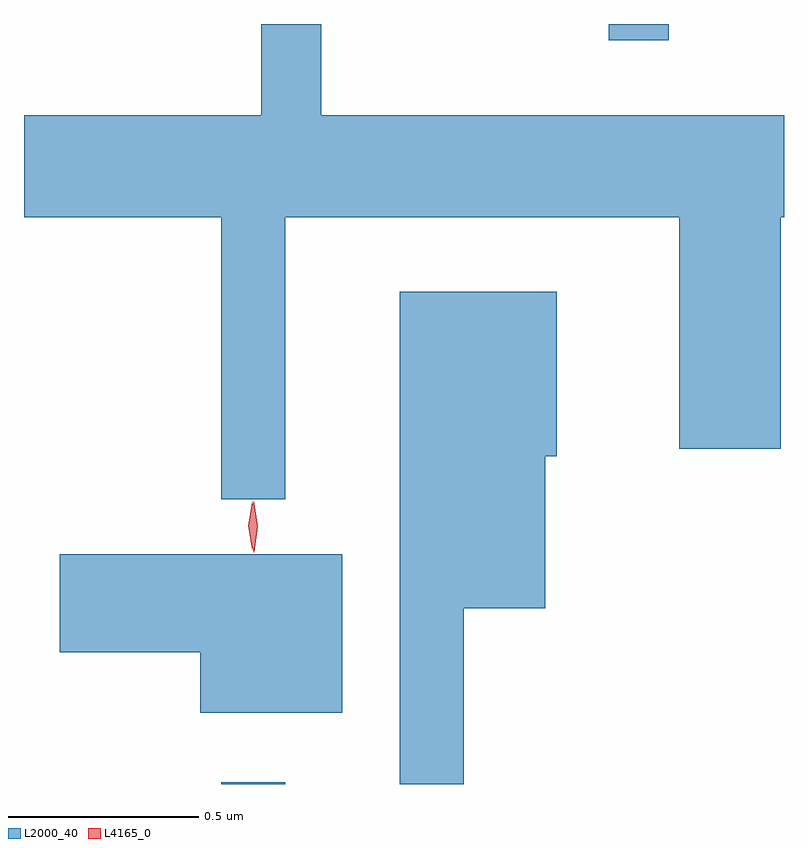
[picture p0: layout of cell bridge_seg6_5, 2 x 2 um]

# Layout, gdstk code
import gdstk
lib = gdstk.Library(unit=1e-6, precision=1e-09)
def R(c, l, rs):  # rectangles x0, y0, x1, y1
    for r in rs: c.add(gdstk.rectangle(r[:2], r[2:], *l))
def P(c, l, *ps):  # polygons
    for p in ps: c.add(gdstk.Polygon(p, *l))
L2000_40 = (2000, 40)
L4165_0 = (4165, 0)

bridge_seg6_5 = lib.new_cell('bridge_seg6_5')
R(bridge_seg6_5, L2000_40, [(1452.631,1641.784,1452.799,1641.788), (1453.651,1643.741,1453.809,1643.784)])
P(bridge_seg6_5, L2000_40, [(1452.799,1643.276),(1453.836,1643.276),(1453.836,1642.666),(1454.104,1642.666),(1454.104,1643.276),(1454.112,1643.276),(1454.112,1643.544),(1452.894,1643.544),(1452.894,1643.784),(1452.736,1643.784),(1452.736,1643.544),(1452.112,1643.544),(1452.112,1643.276),(1452.631,1643.276),(1452.631,1642.533),(1452.799,1642.533)],
  [(1453.269,1642.246),(1453.484,1642.246),(1453.484,1642.646),(1453.514,1642.646),(1453.514,1643.079),(1453.101,1643.079),(1453.101,1641.784),(1453.269,1641.784)],
  [(1452.949,1642.389),(1452.206,1642.389),(1452.206,1642.131),(1452.576,1642.131),(1452.576,1641.971),(1452.949,1641.971)])
P(bridge_seg6_5, L4165_0, [(1452.717,1642.394),(1452.717,1642.394),(1452.707,1642.462),(1452.716,1642.53),(1452.717,1642.53),(1452.717,1642.53),(1452.727,1642.462),(1452.718,1642.394)],
  [(1452.712,1642.4),(1452.712,1642.4),(1452.702,1642.463),(1452.712,1642.526),(1452.712,1642.527),(1452.712,1642.526),(1452.722,1642.463),(1452.712,1642.4)])

lib.write_gds('bridge_seg6_5.gds')
